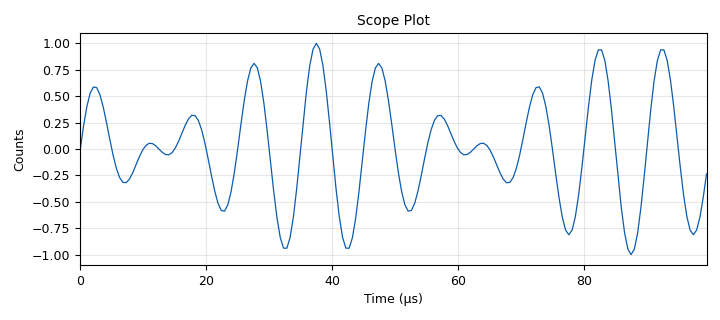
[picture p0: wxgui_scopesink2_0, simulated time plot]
<?xml version='1.0' encoding='utf-8'?>
<?grc format='1' created='3.7.10'?>
<flow_graph>
<block>
<key>options</key>
<param><key>id</key><value>top_block</value></param>
<param><key>generate_options</key><value>wx_gui</value></param>
</block>
<block>
<key>variable</key>
<param><key>id</key><value>samp_rate</value></param>
<param><key>value</key><value>1920000</value></param>
</block>
<block>
<key>analog_sig_source_x</key>
<param><key>id</key><value>analog_sig_source_x_0</value></param>
<param><key>amp</key><value>1</value></param>
<param><key>freq</key><value>10000</value></param>
<param><key>offset</key><value>0</value></param>
<param><key>type</key><value>float</value></param>
<param><key>samp_rate</key><value>samp_rate</value></param>
<param><key>waveform</key><value>analog.GR_COS_WAVE</value></param>
</block>
<block>
<key>analog_sig_source_x</key>
<param><key>id</key><value>analog_sig_source_x_1</value></param>
<param><key>amp</key><value>1</value></param>
<param><key>freq</key><value>100000</value></param>
<param><key>offset</key><value>0</value></param>
<param><key>type</key><value>float</value></param>
<param><key>samp_rate</key><value>samp_rate</value></param>
<param><key>waveform</key><value>analog.GR_COS_WAVE</value></param>
</block>
<block>
<key>audio_sink</key>
<param><key>id</key><value>audio_sink_0</value></param>
<param><key>_enabled</key><value>0</value></param>
<param><key>samp_rate</key><value>samp_rate</value></param>
</block>
<block>
<key>blocks_add_const_vxx</key>
<param><key>id</key><value>blocks_add_const_vxx_0</value></param>
<param><key>const</key><value>0</value></param>
<param><key>type</key><value>float</value></param>
</block>
<block>
<key>blocks_multiply_xx</key>
<param><key>id</key><value>blocks_multiply_xx_0</value></param>
<param><key>type</key><value>float</value></param>
</block>
<block>
<key>blocks_throttle</key>
<param><key>id</key><value>blocks_throttle_0</value></param>
<param><key>samples_per_second</key><value>samp_rate</value></param>
<param><key>type</key><value>float</value></param>
</block>
<block>
<key>wxgui_scopesink2</key>
<param><key>id</key><value>wxgui_scopesink2_0</value></param>
<param><key>ac_couple</key><value>False</value></param>
<param><key>num_inputs</key><value>1</value></param>
<param><key>samp_rate</key><value>samp_rate</value></param>
<param><key>t_scale</key><value>0</value></param>
<param><key>title</key><value>Scope Plot</value></param>
<param><key>trig_mode</key><value>wxgui.TRIG_MODE_AUTO</value></param>
<param><key>type</key><value>float</value></param>
<param><key>v_offset</key><value>0</value></param>
<param><key>v_scale</key><value>0</value></param>
<param><key>xy_mode</key><value>False</value></param>
<param><key>y_axis_label</key><value>Counts</value></param>
</block>
<connection><source_block_id>analog_sig_source_x_0</source_block_id><sink_block_id>blocks_add_const_vxx_0</sink_block_id><source_key>0</source_key><sink_key>0</sink_key></connection>
<connection><source_block_id>analog_sig_source_x_1</source_block_id><sink_block_id>blocks_multiply_xx_0</sink_block_id><source_key>0</source_key><sink_key>1</sink_key></connection>
<connection><source_block_id>blocks_add_const_vxx_0</source_block_id><sink_block_id>blocks_multiply_xx_0</sink_block_id><source_key>0</source_key><sink_key>0</sink_key></connection>
<connection><source_block_id>blocks_multiply_xx_0</source_block_id><sink_block_id>blocks_throttle_0</sink_block_id><source_key>0</source_key><sink_key>0</sink_key></connection>
<connection><source_block_id>blocks_throttle_0</source_block_id><sink_block_id>audio_sink_0</sink_block_id><source_key>0</source_key><sink_key>0</sink_key></connection>
<connection><source_block_id>blocks_throttle_0</source_block_id><sink_block_id>wxgui_scopesink2_0</sink_block_id><source_key>0</source_key><sink_key>0</sink_key></connection>
</flow_graph>
